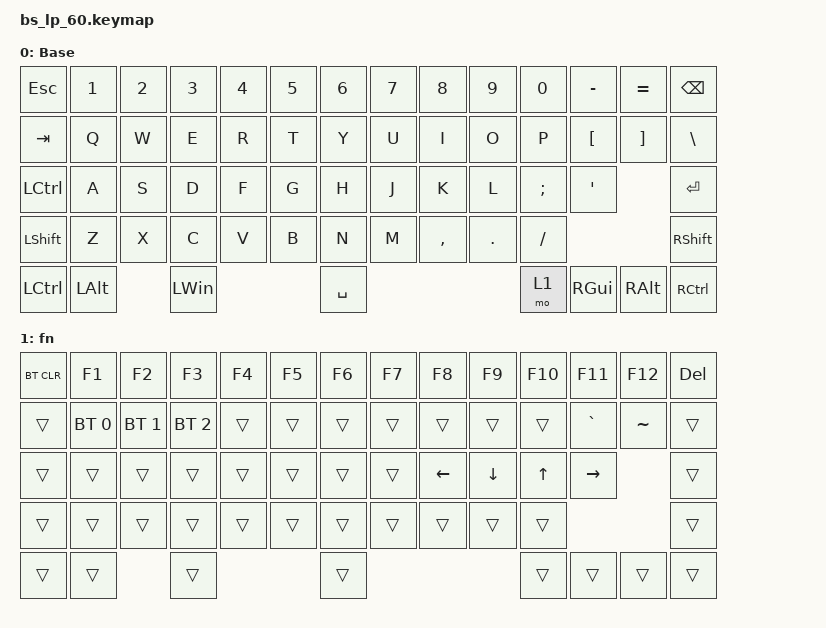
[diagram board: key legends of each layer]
/*
 * Copyright (c) 2021 Cole Smith
 *
 * SPDX-License-Identifier: MIT
 */

#include <dt-bindings/zmk/reset.h>
#include <behaviors.dtsi>
#include <dt-bindings/zmk/bt.h>
#include <dt-bindings/zmk/keys.h>

#define BAS_L 0
#define NAV_L 1

/ {
    keymap {
        compatible = "zmk,keymap";

        default_layer {
            // ------------------------------------------------------------------------------------------
            // | ESC |  1  |  2  |  3  |  4  |  5  |  6  |  7  |  8  |  9  |  0  |  -  |  =  |   BKSP   |
            // | TAB  |  Q  |  W  |  E  |  R  |  T  |  Y  |  U  |  I  |  O  |  P  |  [  |  ]  |   "|"   |
            // | CAPS  |  A  |  S  |  D  |  F  |  G  |  H  |  J  |  K  |  L  |  ;  |  '  |     ENTER    |
            // |  SHIFT  |  Z  |  X  |  C  |  V  |  B  |  N  |  M  |  ,  |  .  |  /  |      SHIFT       |
            // |  CTL  |  WIN  |  ALT  |            SPACE              |  ALT  |  WIN  |  MO(1) |  CTL  |
            // ------------------------------------------------------------------------------------------

            label = "Base";
            bindings = <
&kp ESCAPE  &kp N1        &kp N2  &kp N3        &kp N4  &kp N5  &kp N6     &kp N7  &kp N8     &kp N9   &kp N0    &kp MINUS  &kp EQUAL      &kp BSPC
&kp TAB     &kp Q         &kp W   &kp E         &kp R   &kp T   &kp Y      &kp U   &kp I      &kp O    &kp P     &kp LBKT   &kp RBKT       &kp BSLH
&kp LCTRL   &kp A         &kp S   &kp D         &kp F   &kp G   &kp H      &kp J   &kp K      &kp L    &kp SEMI  &kp SQT                   &kp RET
&kp LSHFT   &kp Z         &kp X   &kp C         &kp V   &kp B   &kp N      &kp M   &kp COMMA  &kp DOT  &kp FSLH                            &kp RSHFT
&kp LCTRL   &kp LEFT_ALT          &kp LEFT_WIN                  &kp SPACE                              &mo 1     &kp RGUI   &kp RIGHT_ALT  &kp RCTRL
            >;
        };

        fn {
            bindings = <
&bt BT_CLR  &kp F1        &kp F2        &kp F3        &kp F4  &kp F5  &kp F6  &kp F7  &kp F8          &kp F9          &kp F10       &kp F11          &kp F12    &kp DELETE
&trans      &bt BT_SEL 0  &bt BT_SEL 1  &bt BT_SEL 2  &trans  &trans  &trans  &trans  &trans          &trans          &trans        &kp GRAVE        &kp TILDE  &trans
&trans      &trans        &trans        &trans        &trans  &trans  &trans  &trans  &kp LEFT_ARROW  &kp DOWN_ARROW  &kp UP_ARROW  &kp RIGHT_ARROW             &trans
&trans      &trans        &trans        &trans        &trans  &trans  &trans  &trans  &trans          &trans          &trans                                    &trans
&trans      &trans                      &trans                        &trans                                          &trans        &trans           &trans     &trans
            >;
        };
    };
};
